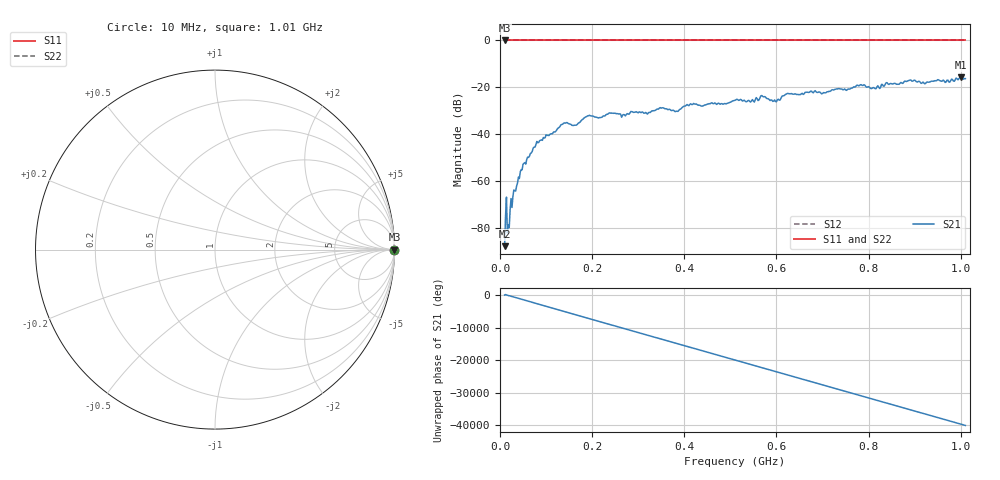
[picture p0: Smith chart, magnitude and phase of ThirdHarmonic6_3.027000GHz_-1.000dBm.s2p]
! 8/17/2025 8:43:45 AM
! C:\ANRITSUVNA\TEMP\TEMP.S2P
! CHANNEL.1
! TR.MEASUREMENT
! RAW.DATA
! RF.CORRECTION.OFF
! AVERAGING.OFF
! IF.BANDWIDTH: 5KHZ
! SWEEPTYPE:  FREQ.SWEEP(Linear)
! Reference Plane Port Info
! PORT:  PORT1  PORT2
! DISTANCE:  0  m  0  m
! TIME:  0  s  0  s
! PHASE.OFFSET:  0  deg.  0  deg.
! LOSS:  0  dB  0  dB
! REF.LOSS:  0  dB  0  dB
! REF.FREQ:  0  Hz  0  Hz
! Power Info
! POWER:  -20  dBm  -20  dBm
! EFF.POWER:  -20  dBm  -20  dBm
! SOURCE.ATTEN:  0  dB  0  dB
! TEST.ATTEN:  0  dB  0  dB
# GHZ S RI R 50.0
! FREQ.GHZ  S11RE  S11IM  S21RE  S21IM  S12RE  S12IM  S22RE  S22IM
!; PortSelection: Port_12
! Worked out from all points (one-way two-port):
!   501 points, 10 MHz to 1.01 GHz, reference 50 ohm
!   highest |S21| = -15.68 dB at 1 GHz (marker M1); lowest = -87.6 dB at 10 MHz (marker M2)
!   lowest |S11| = 0.0 dB at 10 MHz (marker M3)
!   |S11| at or under -10 dB: nowhere
!   |S22| runs from 0.0 to 0.0 dB; largest |S21 - S12| = 1.1
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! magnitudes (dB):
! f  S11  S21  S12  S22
! 10 MHz  0.0  -87.6  0.0  0.0
! 20 MHz  0.0  -79.7  0.0  0.0
! 28 MHz  0.0  -66.4  0.0  0.0
! 48 MHz  0.0  -55.1  0.0  0.0
! 76 MHz  0.0  -45.4  0.0  0.0
! 136 MHz  0.0  -35.7  0.0  0.0
! 162 MHz  0.0  -36.1  0.0  0.0
! 178 MHz  0.0  -33.8  0.0  0.0
! 194 MHz  0.0  -31.8  0.0  0.0
! 268 MHz  0.0  -31.5  0.0  0.0
! 344 MHz  0.0  -29.2  0.0  0.0
! 384 MHz  0.0  -30.1  0.0  0.0
! 416 MHz  0.0  -27.3  0.0  0.0
! 510 MHz  0.0  -25.5  0.0  0.0
! 548 MHz  0.0  -25.2  0.0  0.0
! 570 MHz  0.0  -23.8  0.0  0.0
! 596 MHz  0.0  -25.3  0.0  0.0
! 624 MHz  0.0  -22.5  0.0  0.0
! 678 MHz  0.0  -22.1  0.0  0.0
! 844 MHz  0.0  -18.7  0.0  0.0
! 1 GHz  0.0  -15.7  0.0  0.0
! 1.01 GHz  0.0  -16.3  0.0  0.0
